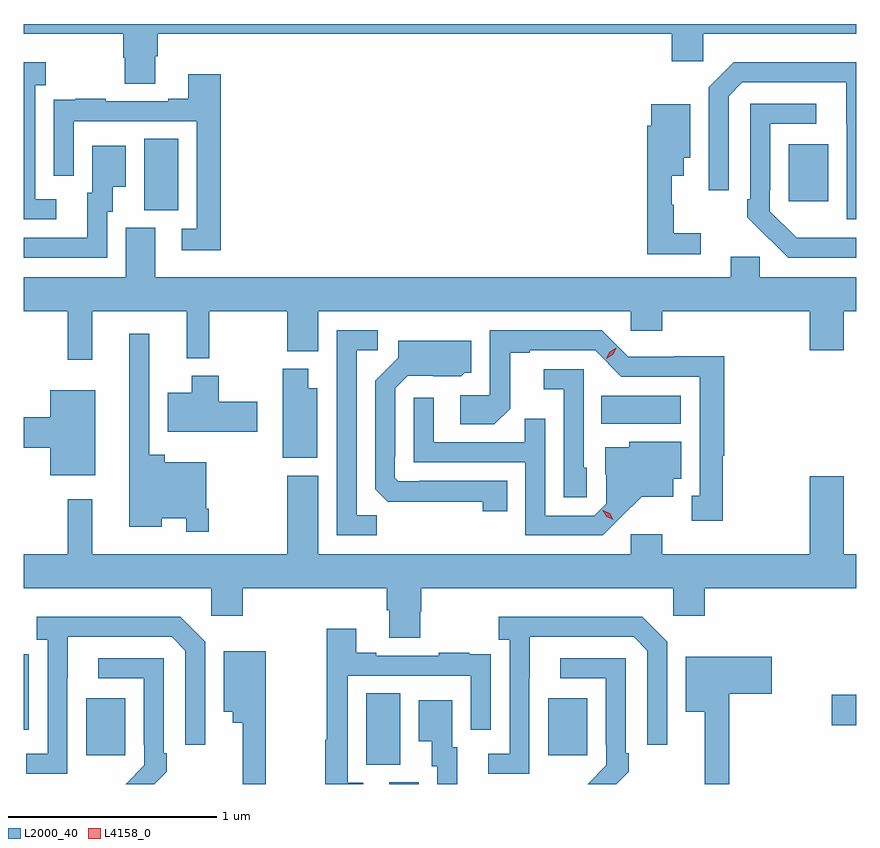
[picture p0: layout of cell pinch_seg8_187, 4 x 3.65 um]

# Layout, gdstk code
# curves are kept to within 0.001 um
import gdstk
lib = gdstk.Library(unit=1e-6, precision=1e-09)
def R(c, l, rs):  # rectangles x0, y0, x1, y1
    for r in rs: c.add(gdstk.rectangle(r[:2], r[2:], *l))
def P(c, l, *ps):  # polygons
    for p in ps: c.add(gdstk.Polygon(p, *l))
L2000_40 = (2000, 40)
L4158_0 = (4158, 0)

pinch_seg8_187 = lib.new_cell('pinch_seg8_187')
R(pinch_seg8_187, L2000_40, [(690.461,1160.848,690.601,1160.856), (690.35,1160.941,690.514,1161.284), (689.003,1160.985,689.191,1161.259), (691.223,1160.985,691.411,1161.259), (692.586,1161.131,692.704,1161.278), (691.48,1162.58,691.861,1162.714), (689.282,1163.605,689.446,1163.948), (692.381,1163.649,692.569,1163.923)])
P(pinch_seg8_187, L2000_40, [(689.335,1164.346),(689.348,1164.346),(689.348,1164.452),(691.817,1164.452),(691.817,1164.321),(691.968,1164.321),(691.968,1164.452),(692.704,1164.452),(692.704,1164.5),(688.704,1164.5),(688.704,1164.452),(689.183,1164.452),(689.183,1164.339),(689.188,1164.339),(689.188,1164.214),(689.335,1164.214)],
  [(692.704,1164.316),(692.116,1164.316),(691.995,1164.195),(691.995,1163.7),(692.091,1163.7),(692.091,1164.153),(692.157,1164.219),(692.657,1164.219),(692.657,1164.019),(692.658,1164.019),(692.658,1163.562),(692.704,1163.562)],
  [(688.861,1163.658),(688.758,1163.658),(688.758,1164.206),(688.81,1164.206),(688.81,1164.316),(688.704,1164.316),(688.704,1163.562),(688.861,1163.562)],
  [(689.651,1164.259),(689.495,1164.259),(689.495,1164.142),(689.399,1164.142),(689.399,1164.129),(689.099,1164.129),(689.099,1164.142),(688.951,1164.142),(688.951,1164.135),(688.849,1164.135),(688.849,1164.026),(688.848,1164.026),(688.848,1163.772),(688.944,1163.772),(688.944,1164.033),(689.535,1164.033),(689.535,1163.517),(689.463,1163.517),(689.463,1163.412),(689.651,1163.412)],
  [(692.704,1163.472),(692.418,1163.473),(692.289,1163.601),(692.289,1163.701),(692.292,1163.701),(692.292,1164.021),(692.512,1164.021),(692.512,1164.117),(692.196,1164.117),(692.196,1163.659),(692.181,1163.659),(692.181,1163.571),(692.378,1163.376),(692.704,1163.376)],
  [(691.957,1163.495),(691.828,1163.495),(691.828,1163.631),(691.817,1163.631),(691.817,1163.771),(691.876,1163.771),(691.876,1163.858),(691.906,1163.858),(691.906,1164.115),(691.718,1164.115),(691.718,1164.011),(691.699,1164.011),(691.699,1163.394),(691.957,1163.394)],
  [(689.106,1163.598),(689.131,1163.598),(689.131,1163.717),(689.194,1163.717),(689.194,1163.914),(689.033,1163.914),(689.033,1163.688),(689.009,1163.688),(689.009,1163.472),(688.704,1163.472),(688.704,1163.376),(689.106,1163.376)],
  [(692.48,1162.932),(692.644,1162.932),(692.644,1163.12),(692.704,1163.12),(692.704,1163.284),(692.241,1163.284),(692.241,1163.382),(692.102,1163.382),(692.102,1163.284),(689.335,1163.284),(689.335,1163.52),(689.195,1163.52),(689.195,1163.284),(688.704,1163.284),(688.704,1163.12),(688.915,1163.12),(688.915,1162.887),(689.033,1162.887),(689.033,1163.12),(689.486,1163.12),(689.486,1162.895),(689.596,1162.895),(689.596,1163.12),(689.971,1163.12),(689.971,1162.928),(690.118,1162.928),(690.118,1163.12),(691.62,1163.12),(691.62,1163.027),(691.772,1163.027),(691.772,1163.12),(692.48,1163.12)],
  [(690.399,1162.139),(690.303,1162.139),(690.303,1162.932),(690.406,1162.932),(690.406,1163.028),(690.207,1163.028),(690.207,1162.044),(690.399,1162.044)],
  [(692.063,1162.425),(692.071,1162.425),(692.071,1162.904),(691.83,1162.904),(691.83,1162.902),(691.608,1162.902),(691.482,1163.028),(690.942,1163.028),(690.942,1162.716),(690.801,1162.716),(690.801,1162.576),(690.965,1162.576),(691.041,1162.652),(691.041,1162.92),(691.135,1162.92),(691.135,1162.932),(691.449,1162.932),(691.575,1162.806),(691.952,1162.806),(691.952,1162.233),(691.913,1162.233),(691.913,1162.113),(692.063,1162.113)],
  [(689.593,1162.171),(689.58,1162.171),(689.58,1162.393),(689.381,1162.393),(689.381,1162.429),(689.307,1162.429),(689.307,1163.011),(689.21,1163.011),(689.21,1162.085),(689.368,1162.085),(689.368,1162.124),(689.484,1162.124),(689.484,1162.059),(689.593,1162.059)],
  [(691.028,1162.305),(690.604,1162.305),(690.604,1162.302),(690.504,1162.302),(690.486,1162.32),(690.486,1162.42),(690.489,1162.42),(690.489,1162.749),(690.549,1162.809),(690.806,1162.808),(690.822,1162.824),(690.853,1162.824),(690.853,1162.978),(690.503,1162.978),(690.503,1162.896),(690.393,1162.786),(690.393,1162.264),(690.452,1162.205),(690.91,1162.204),(690.91,1162.158),(691.028,1162.158)],
  [(690.115,1162.75),(690.07,1162.75),(690.07,1162.843),(689.948,1162.843),(689.948,1162.415),(690.115,1162.415)],
  [(691.41,1162.368),(691.395,1162.368),(691.395,1162.842),(691.203,1162.842),(691.203,1162.745),(691.299,1162.745),(691.299,1162.225),(691.41,1162.225)],
  [(689.827,1162.686),(689.64,1162.686),(689.64,1162.81),(689.51,1162.81),(689.51,1162.729),(689.396,1162.729),(689.396,1162.541),(689.827,1162.541)],
  [(689.047,1162.741),(688.832,1162.741),(688.832,1162.61),(688.704,1162.61),(688.704,1162.463),(688.832,1162.463),(688.832,1162.331),(689.047,1162.331)],
  [(691.57,1162.127),(691.673,1162.229),(691.825,1162.229),(691.825,1162.316),(691.864,1162.316),(691.864,1162.492),(691.614,1162.492),(691.614,1162.465),(691.499,1162.465),(691.499,1162.336),(691.503,1162.336),(691.503,1162.194),(691.446,1162.137),(691.209,1162.137),(691.209,1162.604),(691.111,1162.604),(691.111,1162.491),(690.675,1162.491),(690.675,1162.705),(690.579,1162.705),(690.579,1162.395),(691.113,1162.395),(691.113,1162.044),(691.486,1162.044)],
  [(690.609,1161.675),(690.614,1161.675),(690.614,1161.788),(691.824,1161.788),(691.824,1161.657),(691.976,1161.657),(691.976,1161.788),(692.704,1161.788),(692.704,1161.952),(692.644,1161.952),(692.644,1162.327),(692.48,1162.327),(692.48,1161.952),(691.772,1161.952),(691.772,1162.048),(691.62,1162.048),(691.62,1161.952),(690.118,1161.952),(690.118,1162.33),(689.971,1162.33),(689.971,1161.952),(689.032,1161.952),(689.032,1162.216),(688.915,1162.216),(688.915,1161.952),(688.704,1161.952),(688.704,1161.788),(689.604,1161.788),(689.604,1161.657),(689.756,1161.657),(689.756,1161.788),(690.449,1161.788),(690.449,1161.682),(690.461,1161.682),(690.461,1161.55),(690.609,1161.55)],
  [(691.134,1161.355),(691.135,1161.555),(691.635,1161.555),(691.701,1161.489),(691.701,1161.036),(691.797,1161.036),(691.797,1161.531),(691.676,1161.652),(690.987,1161.652),(690.987,1161.542),(691.038,1161.542),(691.038,1160.994),(690.936,1160.994),(690.936,1160.898),(691.134,1160.898)],
  [(688.914,1161.355),(688.915,1161.555),(689.415,1161.555),(689.481,1161.489),(689.481,1161.036),(689.577,1161.036),(689.577,1161.531),(689.456,1161.652),(688.767,1161.652),(688.767,1161.542),(688.818,1161.542),(688.818,1160.994),(688.716,1160.994),(688.716,1160.898),(688.914,1160.898)],
  [(690.334,1160.853),(690.261,1160.853),(690.261,1161.369),(690.852,1161.369),(690.852,1161.108),(690.948,1161.108),(690.948,1161.362),(690.947,1161.362),(690.947,1161.471),(690.845,1161.471),(690.845,1161.478),(690.697,1161.478),(690.697,1161.465),(690.397,1161.465),(690.397,1161.478),(690.301,1161.478),(690.301,1161.595),(690.16,1161.595),(690.16,1161.06),(690.153,1161.06),(690.153,1160.848),(690.334,1160.848)],
  [(689.866,1161.487),(689.666,1161.487),(689.666,1161.194),(689.708,1161.194),(689.708,1161.143),(689.756,1161.143),(689.756,1160.848),(689.866,1160.848)],
  [(688.728,1161.362),(688.727,1161.362),(688.727,1161.471),(688.704,1161.471),(688.704,1161.108),(688.728,1161.108)],
  [(692.093,1161.281),(692.299,1161.281),(692.299,1161.459),(691.886,1161.459),(691.886,1161.194),(691.976,1161.194),(691.976,1160.848),(692.093,1160.848)],
  [(691.611,1160.907),(691.611,1160.995),(691.596,1160.995),(691.596,1161.453),(691.281,1161.453),(691.281,1161.357),(691.5,1161.357),(691.5,1161.037),(691.503,1161.037),(691.503,1160.937),(691.414,1160.848),(691.552,1160.848)],
  [(689.391,1160.907),(689.391,1160.995),(689.376,1160.995),(689.376,1161.453),(689.061,1161.453),(689.061,1161.357),(689.28,1161.357),(689.28,1161.037),(689.283,1161.037),(689.283,1160.937),(689.194,1160.848),(689.332,1160.848)],
  [(690.787,1161.024),(690.763,1161.024),(690.763,1161.25),(690.602,1161.25),(690.602,1161.053),(690.665,1161.053),(690.665,1160.934),(690.69,1160.934),(690.69,1160.848),(690.787,1160.848)])
P(pinch_seg8_187, L4158_0, [(691.502,1162.892),(691.502,1162.893),(691.52,1162.925),(691.551,1162.944),(691.552,1162.944),(691.552,1162.943),(691.534,1162.911),(691.502,1162.892)],
  [(691.537,1162.118),(691.505,1162.133),(691.487,1162.162),(691.487,1162.163),(691.488,1162.163),(691.519,1162.148),(691.537,1162.118),(691.537,1162.118)])

lib.write_gds('pinch_seg8_187.gds')
